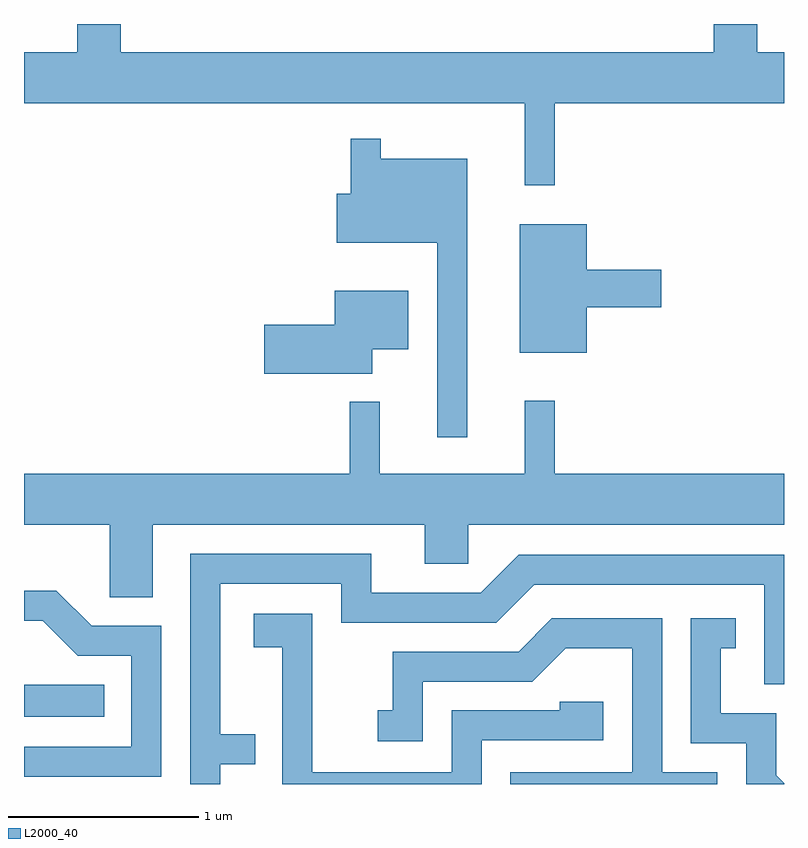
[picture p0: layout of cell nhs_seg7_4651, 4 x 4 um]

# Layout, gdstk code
import gdstk
lib = gdstk.Library(unit=1e-6, precision=1e-09)
def R(c, l, rs):  # rectangles x0, y0, x1, y1
    for r in rs: c.add(gdstk.rectangle(r[:2], r[2:], *l))
def P(c, l, *ps):  # polygons
    for p in ps: c.add(gdstk.Polygon(p, *l))
L2000_40 = (2000, 40)

nhs_seg7_4651 = lib.new_cell('nhs_seg7_4651')
R(nhs_seg7_4651, L2000_40, [(327.611,1746.606,328.033,1746.774)])
P(nhs_seg7_4651, L2000_40, [(330.404,1749.836),(331.611,1749.836),(331.611,1750.104),(331.469,1750.104),(331.469,1750.252),(331.241,1750.252),(331.241,1750.104),(328.119,1750.104),(328.119,1750.252),(327.891,1750.252),(327.891,1750.104),(327.611,1750.104),(327.611,1749.836),(330.246,1749.836),(330.246,1749.403),(330.404,1749.403)],
  [(329.944,1749.544),(329.489,1749.544),(329.489,1749.648),(329.331,1749.648),(329.331,1749.359),(329.256,1749.359),(329.256,1749.101),(329.786,1749.101),(329.786,1748.078),(329.944,1748.078)],
  [(330.574,1748.761),(330.964,1748.761),(330.964,1748.959),(330.574,1748.959),(330.574,1749.199),(330.221,1749.199),(330.221,1748.521),(330.574,1748.521)],
  [(329.444,1748.541),(329.634,1748.541),(329.634,1748.849),(329.246,1748.849),(329.246,1748.669),(328.876,1748.669),(328.876,1748.411),(329.444,1748.411)],
  [(328.289,1747.616),(329.721,1747.616),(329.721,1747.411),(329.949,1747.411),(329.949,1747.616),(331.611,1747.616),(331.611,1747.884),(330.404,1747.884),(330.404,1748.268),(330.246,1748.268),(330.246,1747.884),(329.484,1747.884),(329.484,1748.263),(329.326,1748.263),(329.326,1747.884),(327.611,1747.884),(327.611,1747.616),(328.061,1747.616),(328.061,1747.236),(328.289,1747.236)],
  [(328.644,1746.356),(328.828,1746.356),(328.828,1746.514),(328.644,1746.514),(328.644,1747.306),(329.281,1747.306),(329.281,1747.101),(330.097,1747.101),(330.297,1747.301),(331.506,1747.301),(331.506,1746.776),(331.611,1746.776),(331.611,1747.459),(330.214,1747.459),(330.014,1747.259),(329.439,1747.259),(329.439,1747.464),(328.486,1747.464),(328.486,1746.252),(328.644,1746.252)],
  [(328.334,1747.084),(327.967,1747.084),(327.782,1747.269),(327.611,1747.269),(327.611,1747.111),(327.709,1747.111),(327.894,1746.926),(328.176,1746.926),(328.176,1746.449),(327.611,1746.449),(327.611,1746.291),(328.334,1746.291)],
  [(330.019,1746.481),(330.659,1746.481),(330.659,1746.684),(330.431,1746.684),(330.431,1746.639),(329.861,1746.639),(329.861,1746.314),(329.129,1746.314),(329.129,1747.149),(328.821,1747.149),(328.821,1746.971),(328.971,1746.971),(328.971,1746.252),(330.019,1746.252)],
  [(331.611,1746.255),(331.569,1746.297),(331.569,1746.624),(331.279,1746.624),(331.279,1746.966),(331.358,1746.966),(331.358,1747.124),(331.121,1747.124),(331.121,1746.466),(331.411,1746.466),(331.411,1746.252),(331.611,1746.252)],
  [(331.259,1746.314),(330.969,1746.314),(330.969,1747.124),(330.389,1747.124),(330.214,1746.949),(329.551,1746.949),(329.551,1746.639),(329.473,1746.639),(329.473,1746.476),(329.709,1746.476),(329.709,1746.791),(330.287,1746.791),(330.462,1746.966),(330.811,1746.966),(330.811,1746.314),(330.171,1746.314),(330.171,1746.252),(331.259,1746.252)])

lib.write_gds('nhs_seg7_4651.gds')
